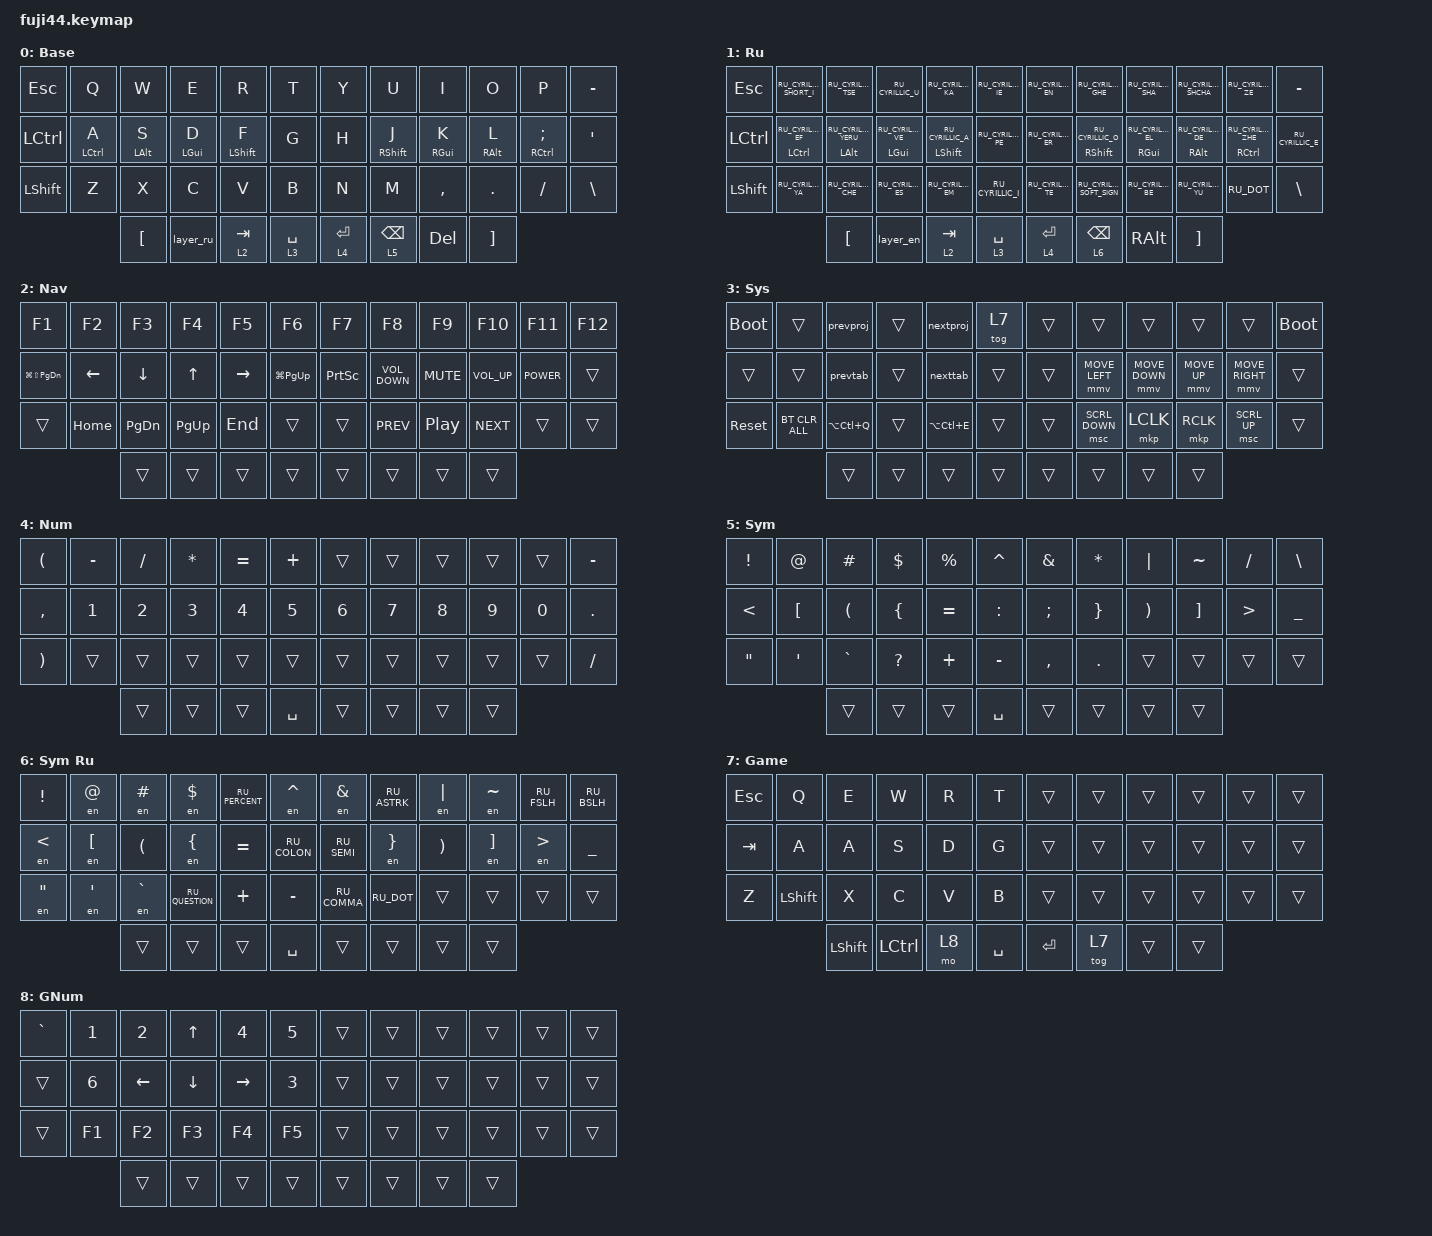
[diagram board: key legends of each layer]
/*
 * Copyright (c) 2020 The ZMK Contributors
 * SPDX-License-Identifier: MIT
 */

#include "keys_ru.h"
#include <behaviors.dtsi>
#include <dt-bindings/zmk/bt.h>
#include <dt-bindings/zmk/keys.h>
#include <dt-bindings/zmk/pointing.h>

&lt { quick-tap-ms = <200>; };

/ {
    combos {
        compatible = "zmk,combos";

        combo_esc {
            timeout-ms = <50>;
            key-positions = <0 1>;
            bindings = <&kp ESC>;
        };

        caps {
            bindings = <&caps_word>;
            key-positions = <13 22>;
        };
    };

    behaviors {
        ss_hs_modmorph: ss_hs_modmorph {
            compatible = "zmk,behavior-mod-morph";
            label = "SS_HS_MODMORPH";
            bindings = <&kp M>, <&kp RIGHT_BRACKET>;

            #binding-cells = <0>;
            mods = <(MOD_LSFT|MOD_RSFT)>;
        };

        kh_hs_tapdance: kh_hs_tapdance {
            compatible = "zmk,behavior-tap-dance";
            label = "KH_HS_TAPDANCE";
            #binding-cells = <0>;
            tapping-term-ms = <200>;
            bindings = <&kp LEFT_BRACKET>, <&kp RIGHT_BRACKET>;
        };

        hrm: hrm {
            compatible = "zmk,behavior-hold-tap";
            #binding-cells = <2>;
            flavor = "balanced";
            tapping-term-ms = <200>;
            quick-tap-ms = <200>;
            require-prior-idle-ms = <125>;
            bindings = <&kp>, <&kp>;
        };
    };

    macros {
        to_ru: to_ru {
            compatible = "zmk,behavior-macro";
            #binding-cells = <0>;
            bindings = <&kp LS(LC(N2))>;
            label = "TO_RU";
            wait-ms = <0>;
            tap-ms = <30>;
        };

        to_en: to_en {
            compatible = "zmk,behavior-macro";
            #binding-cells = <0>;
            bindings = <&kp LS(LC(N1))>;
            label = "TO_EN";
            wait-ms = <0>;
            tap-ms = <30>;
        };

        layer_en: layer_en {
            compatible = "zmk,behavior-macro";
            #binding-cells = <0>;
            bindings = <&to 0 &to_en>;
            label = "LAYER_EN";
            wait-ms = <0>;
            tap-ms = <30>;
        };

        layer_ru: layer_ru {
            compatible = "zmk,behavior-macro";
            #binding-cells = <0>;
            bindings = <&to 1 &to_ru>;
            label = "LAYER_RU";
            tap-ms = <30>;
            wait-ms = <0>;
        };

        en: en {
            compatible = "zmk,behavior-macro-one-param";
            #binding-cells = <1>;
            bindings =
                <&to_en>,
                <&macro_press>,
                <&macro_param_1to1 &kp MACRO_PLACEHOLDER>,
                <&macro_pause_for_release>,
                <&macro_release>,
                <&macro_param_1to1 &kp MACRO_PLACEHOLDER>,
                <&macro_tap>,
                <&to_ru>;

            label = "EN";
            wait-ms = <0>;
            tap-ms = <30>;
        };

        nexttab: nexttab {
            compatible = "zmk,behavior-macro";
            #binding-cells = <0>;
            bindings =
                <&macro_press>,
                <&kp RCTRL>,
                <&macro_tap>,
                <&kp TAB>,
                <&macro_release>,
                <&kp RCTRL>;

            label = "NEXTTAB";
            wait-ms = <10>;
        };

        prevtab: prevtab {
            compatible = "zmk,behavior-macro";
            #binding-cells = <0>;
            bindings =
                <&macro_press>,
                <&kp RCTRL &kp LEFT_SHIFT>,
                <&macro_tap>,
                <&kp TAB>,
                <&macro_release>,
                <&kp RCTRL &kp LEFT_SHIFT>;

            label = "PREVTAB";
            wait-ms = <15>;
        };

        nextgroup: nextgroup {
            compatible = "zmk,behavior-macro";
            #binding-cells = <0>;
            bindings =
                <&macro_press>,
                <&kp LEFT_GUI &kp LEFT_ALT>,
                <&macro_tap>,
                <&kp DOWN_ARROW>,
                <&macro_release>,
                <&kp LEFT_GUI &kp LEFT_ALT>;

            label = "NEXTGROUP";
            wait-ms = <10>;
        };

        prevgroup: prevgroup {
            compatible = "zmk,behavior-macro";
            #binding-cells = <0>;
            bindings =
                <&macro_press>,
                <&kp LEFT_GUI &kp LEFT_ALT>,
                <&macro_tap>,
                <&kp UP_ARROW>,
                <&macro_release>,
                <&kp LEFT_GUI &kp LEFT_ALT>;

            label = "PREVGROUP";
            wait-ms = <10>;
        };

        nextproj: nextproj {
            compatible = "zmk,behavior-macro";
            #binding-cells = <0>;
            bindings =
                <&macro_press>,
                <&kp RCTRL &kp LEFT_ALT>,
                <&macro_tap>,
                <&kp TAB>,
                <&macro_release>,
                <&kp RCTRL &kp LEFT_ALT>;

            label = "NEXTPROJ";
            wait-ms = <10>;
        };

        prevproj: prevproj {
            compatible = "zmk,behavior-macro";
            #binding-cells = <0>;
            bindings =
                <&macro_press>,
                <&kp RCTRL &kp LEFT_ALT &kp LEFT_SHIFT>,
                <&macro_tap>,
                <&kp TAB>,
                <&macro_release>,
                <&kp RCTRL &kp LEFT_ALT &kp LEFT_SHIFT>;

            label = "PREVPROJ";
            wait-ms = <10>;
        };
    };

    keymap {
        compatible = "zmk,keymap";

        def {
            display-name = "Base";
            bindings = <
&kp ESC    &kp Q         &kp W             &kp E        &kp R              &kp T          &kp Y        &kp U               &kp I             &kp O              &kp P            &kp MINUS
&kp LCTRL  &hrm LCTRL A  &hrm LEFT_ALT S   &hrm LGUI D  &hrm LEFT_SHIFT F  &kp G          &kp H        &hrm RIGHT_SHIFT J  &hrm RIGHT_GUI K  &hrm RIGHT_ALT L   &hrm RCTRL SEMI  &kp SQT
&kp LSHFT  &kp Z         &kp X             &kp C        &kp V              &kp B          &kp N        &kp M               &kp COMMA         &kp DOT            &kp FSLH         &kp BACKSLASH
                         &kp LEFT_BRACKET  &layer_ru    &lt 2 TAB          &lt 3 SPACE    &lt 4 ENTER  &lt 5 BACKSPACE     &kp DEL           &kp RIGHT_BRACKET
            >;
        };

        ru {
            display-name = "Ru";
            bindings = <
&kp ESC    &kp RU_CYRILLIC_SHORT_I    &kp RU_CYRILLIC_TSE             &kp RU_CYRILLIC_U         &kp RU_CYRILLIC_KA             &kp RU_CYRILLIC_IE    &kp RU_CYRILLIC_EN  &kp RU_CYRILLIC_GHE             &kp RU_CYRILLIC_SHA            &kp RU_CYRILLIC_SHCHA          &kp RU_CYRILLIC_ZE          &kp MINUS
&kp LCTRL  &hrm LCTRL RU_CYRILLIC_EF  &hrm LEFT_ALT RU_CYRILLIC_YERU  &hrm LGUI RU_CYRILLIC_VE  &hrm LEFT_SHIFT RU_CYRILLIC_A  &kp RU_CYRILLIC_PE    &kp RU_CYRILLIC_ER  &hrm RIGHT_SHIFT RU_CYRILLIC_O  &hrm RIGHT_GUI RU_CYRILLIC_EL  &hrm RIGHT_ALT RU_CYRILLIC_DE  &hrm RCTRL RU_CYRILLIC_ZHE  &kp RU_CYRILLIC_E
&kp LSHFT  &kp RU_CYRILLIC_YA         &kp RU_CYRILLIC_CHE             &kp RU_CYRILLIC_ES        &kp RU_CYRILLIC_EM             &kp RU_CYRILLIC_I     &kp RU_CYRILLIC_TE  &kp RU_CYRILLIC_SOFT_SIGN       &kp RU_CYRILLIC_BE             &kp RU_CYRILLIC_YU             &kp RU_DOT                  &kp BACKSLASH
                                      &kp LEFT_BRACKET                &layer_en                 &lt 2 TAB                      &lt 3 SPACE           &lt 4 ENTER         &lt 6 BACKSPACE                 &kp RALT                       &kp RIGHT_BRACKET
            >;
        };

        nav {
            display-name = "Nav";
            bindings = <
&kp F1                 &kp F2    &kp F3          &kp F4        &kp F5     &kp F6             &kp F7           &kp F8             &kp F9            &kp F10          &kp F11      &kp F12
&kp LG(LS(PAGE_DOWN))  &kp LEFT  &kp DOWN_ARROW  &kp UP_ARROW  &kp RIGHT  &kp LG(PAGE_UP)    &kp PRINTSCREEN  &kp C_VOLUME_DOWN  &kp C_MUTE        &kp C_VOLUME_UP  &kp C_POWER  &trans
&trans                 &kp HOME  &kp PAGE_DOWN   &kp PG_UP     &kp END    &trans             &trans           &kp C_PREV         &kp C_PLAY_PAUSE  &kp C_NEXT       &trans       &trans
                                 &trans          &trans        &trans     &trans             &trans           &trans             &trans            &trans
            >;
        };

        sys {
            display-name = "Sys";
            bindings = <
&bootloader  &trans          &prevproj      &trans  &nextproj      &tog 7    &trans  &trans          &trans          &trans        &trans           &bootloader
&trans       &trans          &prevtab       &trans  &nexttab       &trans    &trans  &mmv MOVE_LEFT  &mmv MOVE_DOWN  &mmv MOVE_UP  &mmv MOVE_RIGHT  &trans
&sys_reset   &bt BT_CLR_ALL  &kp LA(LC(Q))  &trans  &kp LA(LC(E))  &trans    &trans  &msc SCRL_DOWN  &mkp LCLK       &mkp RCLK     &msc SCRL_UP     &trans
                             &trans         &trans  &trans         &trans    &trans  &trans          &trans          &trans
            >;
        };

        num {
            display-name = "Num";
            bindings = <
&kp LEFT_PARENTHESIS   &kp MINUS  &kp SLASH  &kp ASTERISK  &kp EQUAL  &kp PLUS     &trans  &trans  &trans  &trans  &trans  &kp MINUS
&kp COMMA              &kp N1     &kp N2     &kp N3        &kp N4     &kp N5       &kp N6  &kp N7  &kp N8  &kp N9  &kp N0  &kp PERIOD
&kp RIGHT_PARENTHESIS  &trans     &trans     &trans        &trans     &trans       &trans  &trans  &trans  &trans  &trans  &kp SLASH
                                  &trans     &trans        &trans     &kp SPACE    &trans  &trans  &trans  &trans
            >;
        };

        sym {
            display-name = "Sym";
            bindings = <
&kp EXCL  &kp AT    &kp HASH   &kp DLLR   &kp PRCNT  &kp CARET    &kp AMPS   &kp STAR  &kp PIPE  &kp TILDE  &kp FSLH  &kp BSLH
&kp LT    &kp LBKT  &kp LPAR   &kp LBRC   &kp EQUAL  &kp COLON    &kp SEMI   &kp RBRC  &kp RPAR  &kp RBKT   &kp GT    &kp UNDER
&kp DQT   &kp SQT   &kp GRAVE  &kp QMARK  &kp PLUS   &kp MINUS    &kp COMMA  &kp DOT   &trans    &trans     &trans    &trans
                    &trans     &trans     &trans     &kp SPACE    &trans     &trans    &trans    &trans
            >;
        };

        sym_ru {
            display-name = "Sym Ru";
            bindings = <
&kp EXCL  &en AT_SIGN  &en HASH   &en DOLLAR       &kp RU_PERCENT  &en CARET       &en AMPERSAND  &kp RU_ASTRK  &en PIPE  &en TILDE  &kp RU_FSLH  &kp RU_BSLH
&en LT    &en LBKT     &kp LPAR   &en LBRC         &kp EQUAL       &kp RU_COLON    &kp RU_SEMI    &en RBRC      &kp RPAR  &en RBKT   &en GT       &kp UNDER
&en DQT   &en SQT      &en GRAVE  &kp RU_QUESTION  &kp PLUS        &kp MINUS       &kp RU_COMMA   &kp RU_DOT    &trans    &trans     &trans       &trans
                       &trans     &trans           &trans          &kp SPACE       &trans         &trans        &trans    &trans
            >;
        };

        game {
            display-name = "Game";
            bindings = <
&kp ESC  &kp Q      &kp E      &kp W      &kp R  &kp T        &trans     &trans  &trans  &trans  &trans  &trans
&kp TAB  &kp A      &kp A      &kp S      &kp D  &kp G        &trans     &trans  &trans  &trans  &trans  &trans
&kp Z    &kp LSHFT  &kp X      &kp C      &kp V  &kp B        &trans     &trans  &trans  &trans  &trans  &trans
                    &kp LSHFT  &kp LCTRL  &mo 8  &kp SPACE    &kp ENTER  &tog 7  &trans  &trans
            >;
        };

        game_num {
            display-name = "GNum";
            bindings = <
&kp GRAVE  &kp N1  &kp N2    &kp UP    &kp N4     &kp N5    &trans  &trans  &trans  &trans  &trans  &trans
&trans     &kp N6  &kp LEFT  &kp DOWN  &kp RIGHT  &kp N3    &trans  &trans  &trans  &trans  &trans  &trans
&trans     &kp F1  &kp F2    &kp F3    &kp F4     &kp F5    &trans  &trans  &trans  &trans  &trans  &trans
                   &trans    &trans    &trans     &trans    &trans  &trans  &trans  &trans
            >;
        };
    };
};
